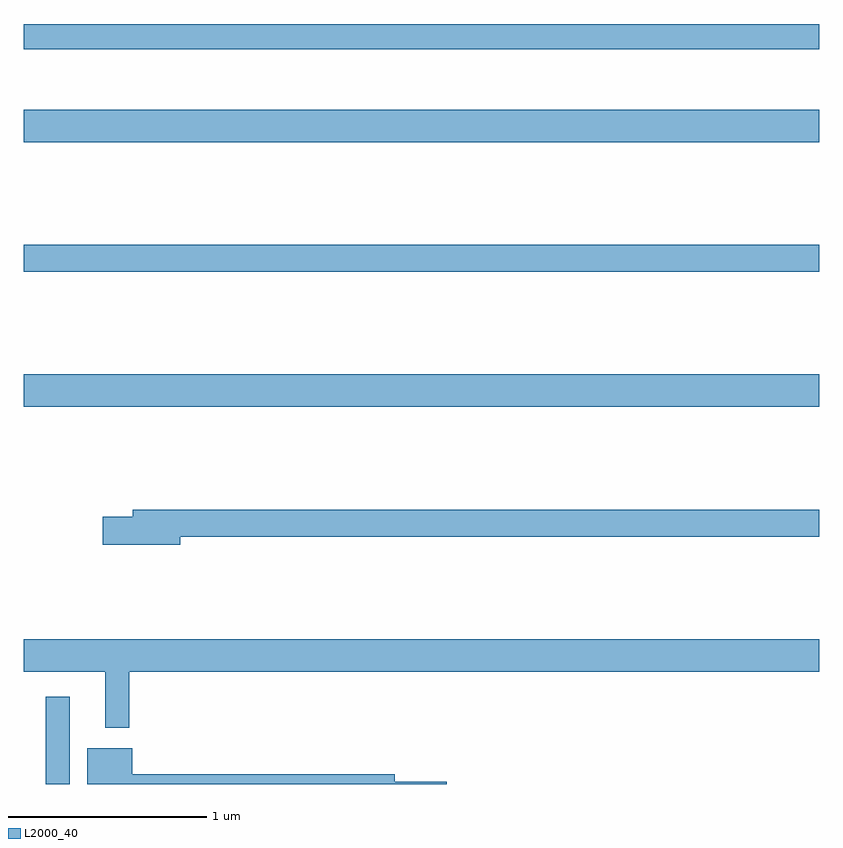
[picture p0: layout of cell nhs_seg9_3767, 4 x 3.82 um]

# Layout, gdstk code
import gdstk
lib = gdstk.Library(unit=1e-6, precision=1e-09)
def R(c, l, rs):  # rectangles x0, y0, x1, y1
    for r in rs: c.add(gdstk.rectangle(r[:2], r[2:], *l))
def P(c, l, *ps):  # polygons
    for p in ps: c.add(gdstk.Polygon(p, *l))
L2000_40 = (2000, 40)

nhs_seg9_3767 = lib.new_cell('nhs_seg9_3767')
R(nhs_seg9_3767, L2000_40, [(325.11,1218.5,325.231,1218.94), (325,1220.396,329,1220.56), (325,1221.076,329,1221.212), (325,1221.728,329,1221.892), (325,1222.194,329,1222.322)])
P(nhs_seg9_3767, L2000_40, [(325.786,1219.744),(329,1219.744),(329,1219.88),(325.547,1219.88),(325.547,1219.844),(325.398,1219.844),(325.398,1219.702),(325.786,1219.702)],
  [(325.531,1219.064),(329,1219.064),(329,1219.228),(325,1219.228),(325,1219.064),(325.409,1219.064),(325.409,1218.783),(325.531,1218.783)],
  [(327.127,1218.512),(326.866,1218.512),(326.866,1218.548),(325.546,1218.548),(325.546,1218.679),(325.319,1218.679),(325.319,1218.5),(327.127,1218.5)])

lib.write_gds('nhs_seg9_3767.gds')
